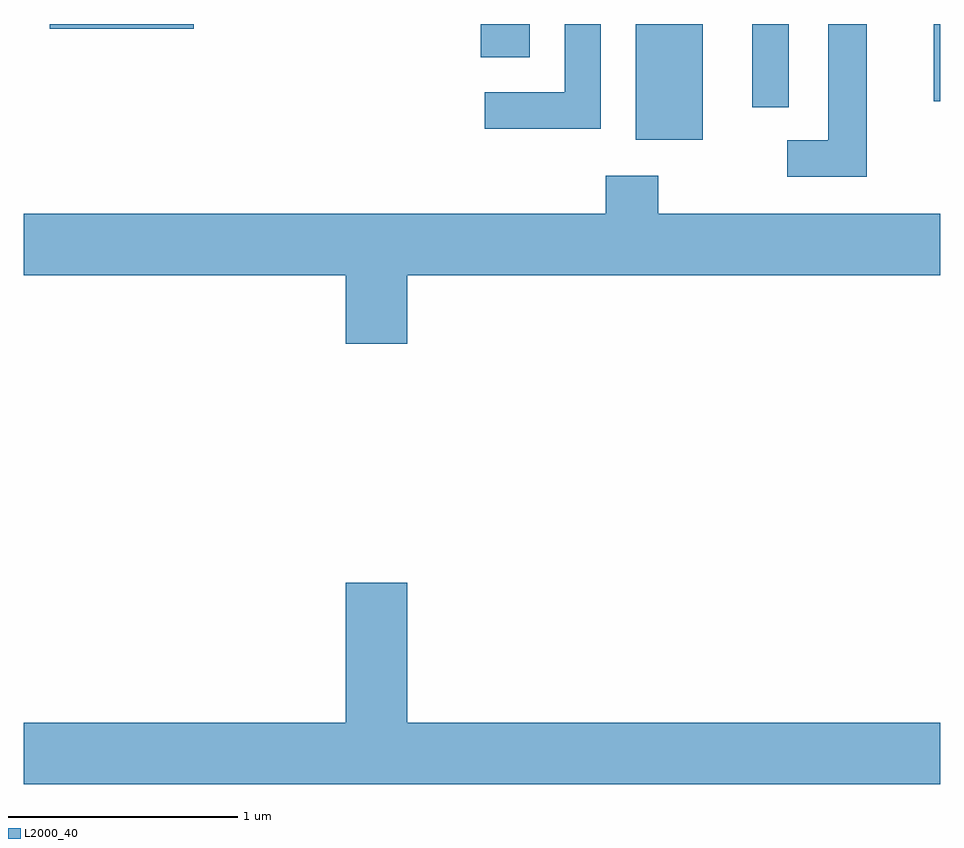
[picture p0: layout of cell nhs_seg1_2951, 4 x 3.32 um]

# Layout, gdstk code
import gdstk
lib = gdstk.Library(unit=1e-6, precision=1e-09)
def R(c, l, rs):  # rectangles x0, y0, x1, y1
    for r in rs: c.add(gdstk.rectangle(r[:2], r[2:], *l))
def P(c, l, *ps):  # polygons
    for p in ps: c.add(gdstk.Polygon(p, *l))
L2000_40 = (2000, 40)

nhs_seg1_2951 = lib.new_cell('nhs_seg1_2951')
R(nhs_seg1_2951, L2000_40, [(276.281,971.206,276.574,971.712), (276.791,971.348,276.949,971.712), (277.581,971.376,277.611,971.712), (275.606,971.566,275.819,971.712), (273.726,971.691,274.354,971.712)])
P(nhs_seg1_2951, L2000_40, [(277.289,971.712),(277.121,971.712),(277.121,971.204),(276.943,971.204),(276.943,971.046),(277.289,971.046)],
  [(276.129,971.712),(275.971,971.712),(275.971,971.414),(275.623,971.414),(275.623,971.256),(276.129,971.256)],
  [(275.284,970.616),(277.611,970.616),(277.611,970.884),(276.379,970.884),(276.379,971.049),(276.151,971.049),(276.151,970.884),(273.611,970.884),(273.611,970.616),(275.016,970.616),(275.016,970.316),(275.284,970.316)],
  [(277.611,968.664),(275.284,968.664),(275.284,969.274),(275.016,969.274),(275.016,968.664),(273.611,968.664),(273.611,968.396),(277.611,968.396)])

lib.write_gds('nhs_seg1_2951.gds')
